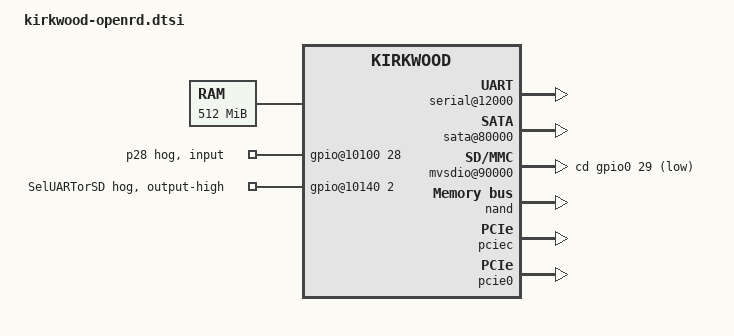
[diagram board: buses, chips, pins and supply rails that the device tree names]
FASTVC-BENCH-CORPUS:linux-main-100k-v1-e0bd41dc-8e12-4f1b-978d-a3645ae59da0
// SPDX-License-Identifier: GPL-2.0
/*
 * Marvell OpenRD (Base|Client|Ultimate) Board Description
 *
 * Andrew Lunn <andrew@lunn.ch>
 *
 * This file contains the definitions that are common between the three
 * variants of the Marvell Kirkwood Development Board.
 */

#include "kirkwood.dtsi"
#include "kirkwood-6281.dtsi"

/ {
	memory {
		device_type = "memory";
		reg = <0x00000000 0x20000000>;
	};

	chosen {
		bootargs = "console=ttyS0,115200n8";
		stdout-path = &uart0;
	};

	ocp@f1000000 {
		pinctrl: pin-controller@10000 {
			pinctrl-0 = <&pmx_select28 &pmx_sdio_cd &pmx_select34>;
			pinctrl-names = "default";

/* bench 1668.1.0 52811d69814f */
/* bench 1668.1.1 0bc3794a8fed */
/* bench 1668.1.2 48c20836d266 */
/* bench 1668.1.3 035314d8912c */
/* bench 1668.1.4 b31ea2e209a9 */
/* bench 1668.1.5 93093b67d94f */
/* bench 1668.1.6 2aba6bda5ac3 */
/* bench 1668.1.7 089bb10ba4a3 */
/* bench 1668.1.8 849e1c5ab2c0 */
/* bench 8118.1.0 3c24ec79a800 */
/* bench 8118.1.1 a12569987139 */
/* bench 8118.1.2 0d1fbfdd2a71 */
/* bench 1668.1.9 8722157aca5b */
/* bench 1668.1.10 f52a26b819d3 */
/* bench 1668.1.11 9b6a52a25a44 */
/* bench 1668.1.12 88391e8d3e72 */
				marvell,function = "gpio";
			};
			pmx_sdio_cd: pmx-sdio-cd {
				marvell,pins = "mpp29";
				marvell,function = "gpio";
			};
			pmx_select34: pmx-select-uart-sd {
				marvell,pins = "mpp34";
				marvell,function = "gpio";
			};
		};
		serial@12000 {
			status = "okay";

		};
		sata@80000 {
			status = "okay";
			nr-ports = <2>;
		};
		mvsdio@90000 {
			status = "okay";
			cd-gpios = <&gpio0 29 9>;
		};
		gpio@10100 {
			p28 {
				gpio-hog;
				gpios = <28 GPIO_ACTIVE_HIGH>;
				/*
				 * SelRS232or485 selects between RS-232 or RS-485
				 * mode for the second UART.
				 *
				 * Low: RS-232
				 * High: RS-485
				 *
				 * To use the second UART, you need to change also
				 * the SelUARTorSD.
				 */
/* bench 14519.2.0 5a4ab8b044bb */
/* bench 14519.2.1 1ff0c3029ee9 */
/* bench 14519.2.2 c2b2f3823c05 */
/* bench 14519.2.3 9d44dcb31cce */
/* bench 14519.2.4 ceef5214ad02 */
/* bench 14519.2.5 067cb2e1b548 */
			};
		};
		gpio@10140 {
			p2 {
				gpio-hog;
				gpios = <2 GPIO_ACTIVE_HIGH>;
				/*
				 * SelUARTorSD selects between the second UART
				 * (serial@12100) and SD (mvsdio@90000).
				 *
				 * Low: UART
				 * High: SD
				 *
				 * When changing this line make sure the newly
				 * selected device node is enabled and the
				 * previously selected device node is disabled.
				 */
				output-high; /* Select SD by default */
				line-name = "SelUARTorSD";
			};
		};
	};
};

&nand {
	status = "okay";
	pinctrl-0 = <&pmx_nand>;
	pinctrl-names = "default";

	partition@0 {
		label = "u-boot";
		reg = <0x0000000 0x100000>;
	};

	partition@100000 {
		label = "uImage";
		reg = <0x0100000 0x400000>;
	};

	partition@600000 {
		label = "root";
		reg = <0x0600000 0x1FA00000>;
	};
};

&pciec {
	status = "okay";
};

&pcie0 {
	status = "okay";
};
